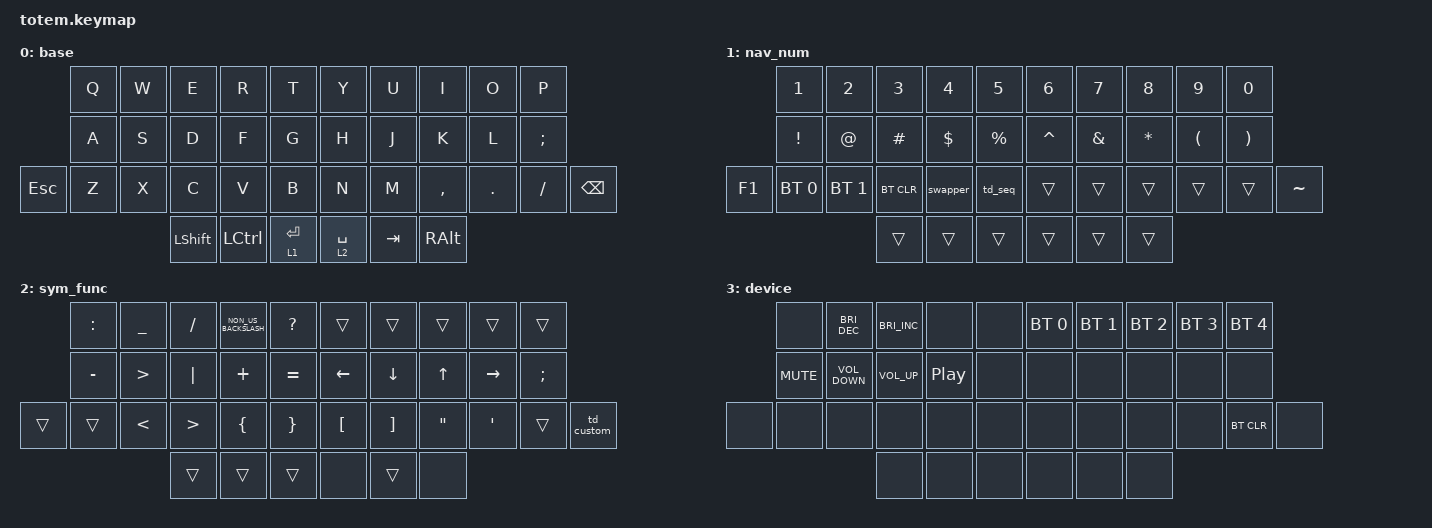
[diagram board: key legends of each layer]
//                                                        ▀▀▀▀▀     ▀▀▀▀▀          ▀▀█▀▀
//                                                        ▄▀▀▀▄  ▄  ▄▀▀▀▄  ▄  ▄▀▀▀▄  █  ▄▀▀▀▄
//                                                        █   █  █  █   █  █  █   █  █  █   █
//                                                         ▀▀▀   █   ▀▀▀   █   ▀▀▀   ▀   ▀▀▀
//                                                               █      ▄▄▄█▄▄▄     █   █  
//                                                               ▀      █  █  █     █▄█
//                                                             ▀▀▀▀▀    █  █  █      ▀
//                                                                      ▀  ▀  ▀
//
// ▄▄▄▄▄▄▄▄▄▄▄▄▄▄▄▄▄▄▄▄▄▄▄▄▄▄▄▄▄▄▄▄▄▄▄▄▄▄▄▄▄▄▄▄▄▄▄▄▄▄▄▄▄▄▄▄▄▄▄▄▄▄▄▄▄▄▄▄▄▄▄▄▄▄▄▄▄▄▄▄▄▄▄▄▄▄▄▄▄▄▄▄▄▄▄▄▄▄▄▄▄▄▄▄▄▄▄▄▄▄▄▄▄▄▄▄▄▄▄▄▄▄▄▄▄▄▄▄▄▄▄▄▄▄▄▄▄▄▄▄▄▄▄▄▄▄▄▄▄

#include <behaviors.dtsi>
#include <dt-bindings/zmk/bt.h>
#include <dt-bindings/zmk/keys.h>

/ {
    macros {
        macro_seq1: seq_one {
            compatible = "zmk,behavior-macro";
            #binding-cells = <0>;
            wait-ms = <40>;
            tap-ms = <40>;
            bindings =
                <&macro_press>,
                <&kp LCTRL>,
                <&macro_tap>,
                <&kp U &kp R &kp T>,
                <&macro_release>,
                <&kp LCTRL>,
                <&macro_tap>,
                <&kp N1 &kp ENTER>;
        };

        macro_seq2: seq_two {
            compatible = "zmk,behavior-macro";
            #binding-cells = <0>;
            wait-ms = <40>;
            tap-ms = <40>;
            bindings =
                <&macro_press>,
                <&kp LCTRL>,
                <&macro_tap>,
                <&kp U &kp R &kp T>,
                <&macro_release>,
                <&kp LCTRL>,
                <&macro_tap>,
                <&kp N2 &kp ENTER>;
        };

        tip: tip {
            compatible = "zmk,behavior-macro";
            #binding-cells = <0>;
            bindings = <&kp LS(H) &kp A &kp O &kp LS(P) &kp H &kp E &kp I &kp AT &kp N1 &kp N2 &kp N8 &kp RET>;
            label = "TIP";
        };

        ctrl_alt_del: ctrl_alt_del {
            compatible = "zmk,behavior-macro";
            #binding-cells = <0>;
            wait-ms = <20>;
            tap-ms = <20>;
            bindings =
                <&macro_press>,
                <&kp LCTRL &kp LALT>,
                <&macro_tap>,
                <&kp DEL>,
                <&macro_release>,
                <&kp LCTRL &kp LALT>;
            label = "CTRL_ALT_DEL";
        };
    };

    behaviors {
        td_seq: tap_dance_sequence {
            compatible = "zmk,behavior-tap-dance";
            #binding-cells = <0>;
            tapping-term-ms = <200>;
            bindings = <&macro_seq1>, <&macro_seq2>;
        };

        td_custom: tap_dance_custom {
            compatible = "zmk,behavior-tap-dance";
            #binding-cells = <0>;
            tapping-term-ms = <200>;
            bindings = <&tip>, <&ctrl_alt_del>;
        };

        swapper: swapper {
            compatible = "zmk,behavior-tri-state";
            #binding-cells = <0>;
            bindings = <&kt LALT>, <&kp TAB>, <&kt LALT>;
        };

        hm: home_row_mods {
            compatible = "zmk,behavior-hold-tap";
            #binding-cells = <2>;
            tapping-term-ms = <200>;
            quick-tap-ms = <175>;
            require-prior-idle-ms = <150>;
            flavor = "balanced";
            bindings = <&kp>, <&kp>;
        };
    };

    keymap {
        compatible = "zmk,keymap";

        base {
            bindings = <
            &kp Q        &kp W        &kp E           &kp R      &kp T          &kp Y        &kp U          &kp I        &kp O        &kp P
            &kp A        &kp S        &kp D           &kp F      &kp G          &kp H        &kp J          &kp K        &kp L        &kp SEMI
&kp ESCAPE  &kp Z        &kp X        &kp C           &kp V      &kp B          &kp N        &kp M          &kp COMMA    &kp DOT      &kp FSLH     &kp BACKSPACE
                                      &kp LEFT_SHIFT  &kp LCTRL  &lt 1 ENTER    &lt 2 SPACE  &kp TAB        &kp RIGHT_ALT
            >;
        };

        nav_num {
            bindings = <
        &kp NUMBER_1  &kp NUMBER_2  &kp N3    &kp N4      &kp NUMBER_5    &kp N6     &kp N7         &kp N8        &kp N9                &kp N0
        &kp EXCL      &kp AT        &kp HASH  &kp DOLLAR  &kp PRCNT       &kp CARET  &kp AMPERSAND  &kp ASTERISK  &kp LEFT_PARENTHESIS  &kp RIGHT_PARENTHESIS
&kp F1  &bt BT_SEL 0  &bt BT_SEL 1  &bt BT_CLR  &swapper  &td_seq         &trans     &trans         &trans        &trans                &trans                 &kp TILDE
                                            &trans      &trans          &trans     &trans         &trans        &trans
            >;
        };

        sym_func {
            bindings = <
        &kp COLON  &kp UNDERSCORE    &kp SLASH         &kp NON_US_BACKSLASH  &kp QUESTION       &trans            &trans             &trans             &trans            &trans
        &kp MINUS  &kp GREATER_THAN  &kp PIPE          &kp PLUS              &kp EQUAL          &kp LEFT_ARROW    &kp DOWN_ARROW     &kp UP_ARROW       &kp RIGHT_ARROW   &kp SEMICOLON
&trans  &trans     &kp LESS_THAN     &kp GREATER_THAN  &kp LEFT_BRACE        &kp RIGHT_BRACE    &kp LEFT_BRACKET  &kp RIGHT_BRACKET  &kp DOUBLE_QUOTES  &kp SINGLE_QUOTE  &trans         &td_custom
                                                       &trans                &trans             &trans            &none              &trans             &none
            >;
        };

        device {
            bindings = <
       &none       &kp C_BRIGHTNESS_DEC  &kp C_BRIGHTNESS_INC  &none             &none    &bt BT_SEL 0  &bt BT_SEL 1  &bt BT_SEL 2  &bt BT_SEL 3  &bt BT_SEL 4
       &kp K_MUTE  &kp C_VOLUME_DOWN     &kp C_VOLUME_UP       &kp C_PLAY_PAUSE  &none    &none         &none         &none         &none         &none
&none  &none       &none                 &none                 &none             &none    &none         &none         &none         &none         &bt BT_CLR    &none
                                                               &none             &none    &none         &none         &none         &none
            >;
        };

        extra1 { status = "reserved"; };

        extra2 { status = "reserved"; };

        extra3 { status = "reserved"; };
    };

    conditional_layers {
        compatible = "zmk,conditional-layers";

        device {
            if-layers = <1 2>;
            then-layer = <3>;
        };
    };
};
